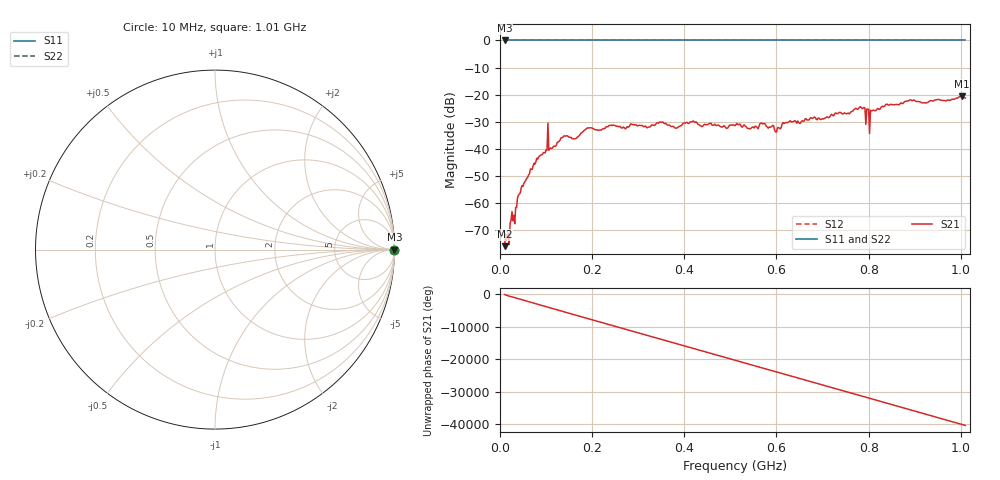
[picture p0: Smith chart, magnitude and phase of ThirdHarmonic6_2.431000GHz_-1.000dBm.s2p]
! 8/17/2025 4:12:51 AM
! C:\ANRITSUVNA\TEMP\TEMP.S2P
! CHANNEL.1
! TR.MEASUREMENT
! RAW.DATA
! RF.CORRECTION.OFF
! AVERAGING.OFF
! IF.BANDWIDTH: 5KHZ
! SWEEPTYPE:  FREQ.SWEEP(Linear)
! Reference Plane Port Info
! PORT:  PORT1  PORT2
! DISTANCE:  0  m  0  m
! TIME:  0  s  0  s
! PHASE.OFFSET:  0  deg.  0  deg.
! LOSS:  0  dB  0  dB
! REF.LOSS:  0  dB  0  dB
! REF.FREQ:  0  Hz  0  Hz
! Power Info
! POWER:  -20  dBm  -20  dBm
! EFF.POWER:  -20  dBm  -20  dBm
! SOURCE.ATTEN:  0  dB  0  dB
! TEST.ATTEN:  0  dB  0  dB
# GHZ S RI R 50.0
! FREQ.GHZ  S11RE  S11IM  S21RE  S21IM  S12RE  S12IM  S22RE  S22IM
!; PortSelection: Port_12
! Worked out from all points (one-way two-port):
!   501 points, 10 MHz to 1.01 GHz, reference 50 ohm
!   highest |S21| = -20.57 dB at 1.002 GHz (marker M1); lowest = -75.9 dB at 10 MHz (marker M2)
!   lowest |S11| = 0.0 dB at 10 MHz (marker M3)
!   |S11| at or under -10 dB: nowhere
!   |S22| runs from 0.0 to 0.0 dB; largest |S21 - S12| = 1.1
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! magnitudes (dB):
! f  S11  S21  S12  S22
! 10 MHz  0.0  -75.9  0.0  0.0
! 32 MHz  0.0  -67.6  0.0  0.0
! 44 MHz  0.0  -56.2  0.0  0.0
! 100 MHz  0.0  -40.3  0.0  0.0
! 108 MHz  0.0  -40.0  0.0  0.0
! 110 MHz  0.0  -39.6  0.0  0.0
! 136 MHz  0.0  -35.8  0.0  0.0
! 162 MHz  0.0  -36.2  0.0  0.0
! 178 MHz  0.0  -33.9  0.0  0.0
! 344 MHz  0.0  -30.5  0.0  0.0
! 382 MHz  0.0  -32.4  0.0  0.0
! 416 MHz  0.0  -30.0  0.0  0.0
! 510 MHz  0.0  -31.4  0.0  0.0
! 540 MHz  0.0  -32.4  0.0  0.0
! 570 MHz  0.0  -30.8  0.0  0.0
! 600 MHz  0.0  -33.8  0.0  0.0
! 678 MHz  0.0  -28.8  0.0  0.0
! 784 MHz  0.0  -24.8  0.0  0.0
! 798 MHz  0.0  -25.3  0.0  0.0
! 844 MHz  0.0  -23.9  0.0  0.0
! 1.002 GHz  0.0  -20.6  0.0  0.0
! 1.01 GHz  0.0  -21.2  0.0  0.0
